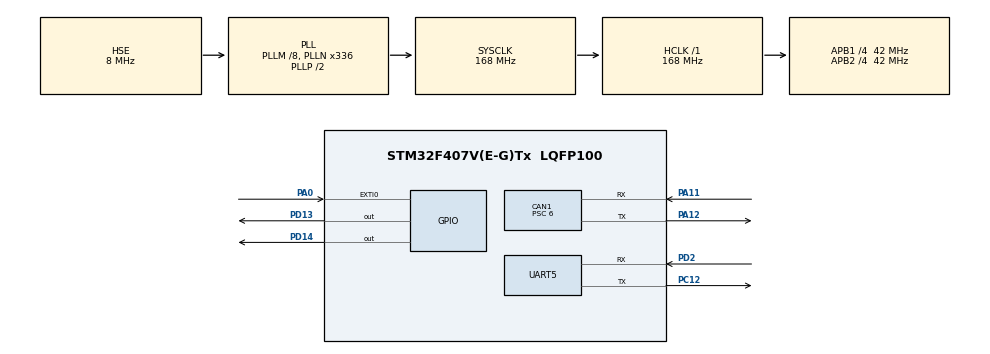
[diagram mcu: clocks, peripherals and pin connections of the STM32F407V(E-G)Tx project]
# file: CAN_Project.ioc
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CAN1.BS1=CAN_BS1_10TQ
CAN1.BS2=CAN_BS2_3TQ
CAN1.CalculateBaudRate=500000
CAN1.CalculateTimeBit=2000
CAN1.CalculateTimeQuantum=142.85714285714286
CAN1.Prescaler=6
CAN1.SJW=CAN_SJW_2TQ
Mcu.Family=STM32F4
Mcu.Name=STM32F407V(E-G)Tx
Mcu.Package=LQFP100
NVIC.CAN1_RX0_IRQn=true\:0\:0\:false\:false\:true\:true\:true\:true
NVIC.EXTI0_IRQn=true\:0\:0\:false\:false\:true\:true\:true\:true
NVIC.PriorityGroup=NVIC_PRIORITYGROUP_4
PA0-WKUP.Signal=GPXTI0
PA11.GPIO_PuPd=GPIO_PULLUP
PA11.Mode=CAN_Activate
PA11.Signal=CAN1_RX
PA12.Mode=CAN_Activate
PA12.Signal=CAN1_TX
PA13.Mode=Serial_Wire
PA13.Signal=SYS_JTMS-SWDIO
PA14.Mode=Serial_Wire
PA14.Signal=SYS_JTCK-SWCLK
PC12.Mode=Asynchronous
PC12.Signal=UART5_TX
PD13.Signal=GPIO_Output
PD14.Signal=GPIO_Output
PD2.Mode=Asynchronous
PD2.Signal=UART5_RX
PH0-OSC_IN.Mode=HSE-External-Oscillator
PH0-OSC_IN.Signal=RCC_OSC_IN
PH1-OSC_OUT.Mode=HSE-External-Oscillator
PH1-OSC_OUT.Signal=RCC_OSC_OUT
ProjectManager.HeapSize=0x200
ProjectManager.StackSize=0x400
ProjectManager.TargetToolchain=STM32CubeIDE
RCC.48MHZClocksFreq_Value=84000000
RCC.AHBFreq_Value=168000000
RCC.APB1CLKDivider=RCC_HCLK_DIV4
RCC.APB1Freq_Value=42000000
RCC.APB1TimFreq_Value=84000000
RCC.APB2CLKDivider=RCC_HCLK_DIV4
RCC.APB2Freq_Value=42000000
RCC.APB2TimFreq_Value=84000000
RCC.CortexFreq_Value=168000000
RCC.HCLKFreq_Value=168000000
RCC.HSE_VALUE=8000000
RCC.HSI_VALUE=16000000
RCC.LSE_VALUE=32768
RCC.PLLM=8
RCC.PLLN=336
RCC.PLLSourceVirtual=RCC_PLLSOURCE_HSE
RCC.SYSCLKFreq_VALUE=168000000
RCC.SYSCLKSource=RCC_SYSCLKSOURCE_PLLCLK
RCC.VCOOutputFreq_Value=336000000
UART5.VirtualMode=Asynchronous
board=custom

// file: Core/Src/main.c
/* USER CODE BEGIN Header */
/**
  ******************************************************************************
  * @file           : main.c
  * @brief          : Main program body
  ******************************************************************************
  * @attention
  *
  * Copyright (c) 2026 STMicroelectronics.
  * All rights reserved.
  *
  * This software is licensed under terms that can be found in the LICENSE file
  * in the root directory of this software component.
  * If no LICENSE file comes with this software, it is provided AS-IS.
  *
  ******************************************************************************
  */
/* USER CODE END Header */
#include "main.h"

CAN_HandleTypeDef hcan1;

UART_HandleTypeDef huart5;

void SystemClock_Config(void);
static void MX_GPIO_Init(void);
static void MX_CAN1_Init(void);
static void MX_UART5_Init(void);

/* USER CODE BEGIN 0 */
CAN_TxHeaderTypeDef TxHeader;
CAN_RxHeaderTypeDef RxHeader;

uint8_t RxData[8];
uint8_t TxData[8];

uint32_t TxMailbox;

int datacheck = 0;

void HAL_GPIO_EXTI_Callback(uint16_t GPIO_Pin)
{
  if (GPIO_Pin == GPIO_PIN_0) // check if the interrupt is from pin 0
  {
    // load data to transmit
    TxData[0] = 100; // delay for led blinking in ms
    TxData[1] = 10;   // number of times to blink the led

    // transmit data
    HAL_CAN_AddTxMessage(&hcan1, &TxHeader, TxData, &TxMailbox);
  }
}

void HAL_CAN_RxFifo0MsgPendingCallback(CAN_HandleTypeDef *hcan)
{
  // receive data
  HAL_CAN_GetRxMessage(hcan, CAN_RX_FIFO0, &RxHeader, RxData);
  if (RxHeader.DLC == 2){
    datacheck = 1;
  }
}
/* USER CODE END 0 */

int main(void)
{

  /* MCU Configuration--------------------------------------------------------*/

  /* Reset of all peripherals, Initializes the Flash interface and the Systick. */
  HAL_Init();

  /* Configure the system clock */
  SystemClock_Config();

  /* Initialize all configured peripherals */
  MX_GPIO_Init();
  MX_CAN1_Init();
  MX_UART5_Init();
  /* USER CODE BEGIN 2 */

  // start CAN1
  HAL_CAN_Start(&hcan1);

  // activate notification --> enable interrupt for CAN
  // after activate the notification, we'll load data in tx_header
  HAL_CAN_ActivateNotification(&hcan1, CAN_IT_RX_FIFO0_MSG_PENDING);

  /*
  data length code = 2 byte;
  first data act as delay for led blinking, in ms;
  second data act as number of times to blink the led
  */
  TxHeader.DLC = 2;
  TxHeader.IDE = CAN_ID_STD; // standard ID 11 bit
  // RTR = 0: data frame, RTR = 1: remote frame - request frame from other node
  TxHeader.RTR = CAN_RTR_DATA;
  TxHeader.StdId = 0x103; // standard ID = 0x103

  /* USER CODE END 2 */

  /* Infinite loop */
  while (1)
  {

    /* USER CODE BEGIN 3 */

    if (datacheck == 1) // check if data has been received
    {
      // toggle LED according to the received data
      for (int i = 0; i < RxData[1]; i++) // number of times to blink the led
      {
        HAL_GPIO_TogglePin(GPIOA, GPIO_PIN_5); // toggle LED
        HAL_Delay(RxData[0]); // delay for led blinking in ms
      }
      datacheck = 0; // reset data check flag after processing the received data

    }
  }
  /* USER CODE END 3 */
}

void SystemClock_Config(void)
{
  RCC_OscInitTypeDef RCC_OscInitStruct = {0};
  RCC_ClkInitTypeDef RCC_ClkInitStruct = {0};

  /** Configure the main internal regulator output voltage
  */
  __HAL_RCC_PWR_CLK_ENABLE();
  __HAL_PWR_VOLTAGESCALING_CONFIG(PWR_REGULATOR_VOLTAGE_SCALE1);

  /** Initializes the RCC Oscillators according to the specified parameters
  * in the RCC_OscInitTypeDef structure.
  */
  RCC_OscInitStruct.OscillatorType = RCC_OSCILLATORTYPE_HSE;
  RCC_OscInitStruct.HSEState = RCC_HSE_ON;
  RCC_OscInitStruct.PLL.PLLState = RCC_PLL_ON;
  RCC_OscInitStruct.PLL.PLLSource = RCC_PLLSOURCE_HSE;
  RCC_OscInitStruct.PLL.PLLM = 8;
  RCC_OscInitStruct.PLL.PLLN = 336;
  RCC_OscInitStruct.PLL.PLLP = RCC_PLLP_DIV2;
  RCC_OscInitStruct.PLL.PLLQ = 4;
  if (HAL_RCC_OscConfig(&RCC_OscInitStruct) != HAL_OK)
  {
    Error_Handler();
  }

  /** Initializes the CPU, AHB and APB buses clocks
  */
  RCC_ClkInitStruct.ClockType = RCC_CLOCKTYPE_HCLK|RCC_CLOCKTYPE_SYSCLK
                              |RCC_CLOCKTYPE_PCLK1|RCC_CLOCKTYPE_PCLK2;
  RCC_ClkInitStruct.SYSCLKSource = RCC_SYSCLKSOURCE_PLLCLK;
  RCC_ClkInitStruct.AHBCLKDivider = RCC_SYSCLK_DIV1;
  RCC_ClkInitStruct.APB1CLKDivider = RCC_HCLK_DIV4;
  RCC_ClkInitStruct.APB2CLKDivider = RCC_HCLK_DIV4;

  if (HAL_RCC_ClockConfig(&RCC_ClkInitStruct, FLASH_LATENCY_5) != HAL_OK)
  {
    Error_Handler();
  }
}

static void MX_CAN1_Init(void)
{

  hcan1.Instance = CAN1;
  hcan1.Init.Prescaler = 6;
  hcan1.Init.Mode = CAN_MODE_NORMAL;
  hcan1.Init.SyncJumpWidth = CAN_SJW_2TQ;
  hcan1.Init.TimeSeg1 = CAN_BS1_10TQ;
  hcan1.Init.TimeSeg2 = CAN_BS2_3TQ;
  hcan1.Init.TimeTriggeredMode = DISABLE;
  hcan1.Init.AutoBusOff = DISABLE;
  hcan1.Init.AutoWakeUp = DISABLE;
  hcan1.Init.AutoRetransmission = DISABLE;
  hcan1.Init.ReceiveFifoLocked = DISABLE;
  hcan1.Init.TransmitFifoPriority = DISABLE;
  if (HAL_CAN_Init(&hcan1) != HAL_OK)
  {
    Error_Handler();
  }
  /* USER CODE BEGIN CAN1_Init 2 */
  CAN_FilterTypeDef canfilterconfig;

    canfilterconfig.FilterActivation = CAN_FILTER_ENABLE;
    canfilterconfig.SlaveStartFilterBank = 20; // [19..0] --> CAN1, [27..20] --> CAN2
    canfilterconfig.FilterBank = 18; // FilterBank < SlaveStartFilterBank
    canfilterconfig.FilterFIFOAssignment = CAN_FILTER_FIFO0; // massage --> fifo0

    canfilterconfig.FilterMode = CAN_FILTERMODE_IDMASK; // mask mode
    canfilterconfig.FilterScale = CAN_FILTERSCALE_32BIT; // 32-bit scale

    canfilterconfig.FilterIdHigh = 0x103 << 5; // 16bit_high of ID
    canfilterconfig.FilterIdLow = 0x0000; // 16bit_low

    canfilterconfig.FilterMaskIdHigh = 0x7FF << 5; // 16bit_high of mask
    canfilterconfig.FilterMaskIdLow = 0x0000;

    if (HAL_CAN_ConfigFilter(&hcan1, &canfilterconfig) != HAL_OK)
    {
        Error_Handler();
    }
  /* USER CODE END CAN1_Init 2 */

}

static void MX_UART5_Init(void)
{

  huart5.Instance = UART5;
  huart5.Init.BaudRate = 115200;
  huart5.Init.WordLength = UART_WORDLENGTH_8B;
  huart5.Init.StopBits = UART_STOPBITS_1;
  huart5.Init.Parity = UART_PARITY_NONE;
  huart5.Init.Mode = UART_MODE_TX_RX;
  huart5.Init.HwFlowCtl = UART_HWCONTROL_NONE;
  huart5.Init.OverSampling = UART_OVERSAMPLING_16;
  if (HAL_UART_Init(&huart5) != HAL_OK)
  {
    Error_Handler();
  }

}

static void MX_GPIO_Init(void)
{
  GPIO_InitTypeDef GPIO_InitStruct = {0};

  /* GPIO Ports Clock Enable */
  __HAL_RCC_GPIOH_CLK_ENABLE();
  __HAL_RCC_GPIOA_CLK_ENABLE();
  __HAL_RCC_GPIOD_CLK_ENABLE();
  __HAL_RCC_GPIOC_CLK_ENABLE();

  /*Configure GPIO pin Output Level */
  HAL_GPIO_WritePin(GPIOD, GPIO_PIN_13|GPIO_PIN_14, GPIO_PIN_RESET);

  /*Configure GPIO pin : PA0 */
  GPIO_InitStruct.Pin = GPIO_PIN_0;
  GPIO_InitStruct.Mode = GPIO_MODE_IT_RISING;
  GPIO_InitStruct.Pull = GPIO_NOPULL;
  HAL_GPIO_Init(GPIOA, &GPIO_InitStruct);

  /*Configure GPIO pins : PD13 PD14 */
  GPIO_InitStruct.Pin = GPIO_PIN_13|GPIO_PIN_14;
  GPIO_InitStruct.Mode = GPIO_MODE_OUTPUT_PP;
  GPIO_InitStruct.Pull = GPIO_NOPULL;
  GPIO_InitStruct.Speed = GPIO_SPEED_FREQ_LOW;
  HAL_GPIO_Init(GPIOD, &GPIO_InitStruct);

  /* EXTI interrupt init*/
  HAL_NVIC_SetPriority(EXTI0_IRQn, 0, 0);
  HAL_NVIC_EnableIRQ(EXTI0_IRQn);

}

void Error_Handler(void)
{
  __disable_irq();
  while (1)
  {
  }
}
